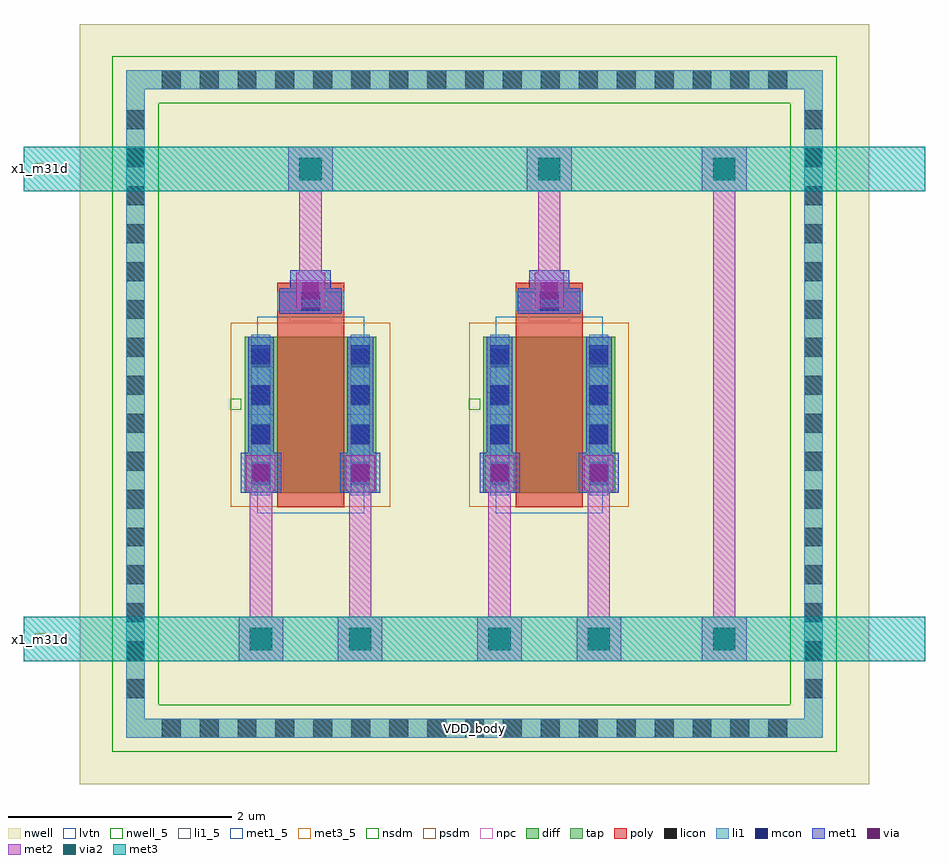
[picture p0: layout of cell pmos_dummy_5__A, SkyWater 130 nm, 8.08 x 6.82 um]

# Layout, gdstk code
import gdstk
lib = gdstk.Library(unit=1e-6, precision=1e-09)
def R(c, l, rs):  # rectangles x0, y0, x1, y1
    for r in rs: c.add(gdstk.rectangle(r[:2], r[2:], *l))
def A(c, l, x, y, w, h, nx, ny, dx, dy):  # array of equal rectangles
    R(c, l, [(x+i*dx, y+j*dy, x+i*dx+w, y+j*dy+h) for i in range(nx) for j in range(ny)])
nwell_5 = (64, 5)
nwell = (64, 20)
diff = (65, 20)
tap = (65, 44)
poly = (66, 20)
licon = (66, 44)
li1_5 = (67, 5)
li1 = (67, 20)
mcon = (67, 44)
met1_5 = (68, 5)
met1 = (68, 20)
via = (68, 44)
met2 = (69, 20)
via2 = (69, 44)
met3_5 = (70, 5)
met3 = (70, 20)
nsdm = (93, 44)
psdm = (94, 20)
npc = (95, 20)
lvtn = (125, 44)

sky130_fd_pr__pfet_01v8_ = lib.new_cell('sky130_fd_pr__pfet_01v8_lvt_L7GY3J')
R(sky130_fd_pr__pfet_01v8_, nwell, [(-0.77,-1.19,0.77,1.02)])
R(sky130_fd_pr__pfet_01v8_, diff, [(-0.59,-0.88,0.59,0.52)])
R(sky130_fd_pr__pfet_01v8_, poly, [(-0.3,-1.01,0.3,1.005)])
A(sky130_fd_pr__pfet_01v8_, licon, -0.53, -0.775, 0.17, 0.17, 1, 4, 0, 0.34)
A(sky130_fd_pr__pfet_01v8_, licon, 0.36, -0.775, 0.17, 0.17, 1, 4, 0, 0.34)
R(sky130_fd_pr__pfet_01v8_, licon, [(-0.085,0.755,0.085,0.925)])
R(sky130_fd_pr__pfet_01v8_, li1, [(-0.53,-0.9,-0.36,0.54), (0.36,-0.9,0.53,0.54), (-0.3,0.755,0.3,0.925)])
A(sky130_fd_pr__pfet_01v8_, mcon, -0.53, -0.805, 0.17, 0.17, 1, 4, 0, 0.36)
A(sky130_fd_pr__pfet_01v8_, mcon, 0.36, -0.805, 0.17, 0.17, 1, 4, 0, 0.36)
R(sky130_fd_pr__pfet_01v8_, mcon, [(-0.085,0.755,0.085,0.925)])
R(sky130_fd_pr__pfet_01v8_, met1, [(-0.56,-0.88,-0.33,0.52), (0.33,-0.88,0.56,0.52), (-0.28,0.725,0.28,0.955)])
R(sky130_fd_pr__pfet_01v8_, psdm, [(-0.715,-1.005,0.715,0.645)])
R(sky130_fd_pr__pfet_01v8_, npc, [(-0.185,0.655,0.185,1.025)])
R(sky130_fd_pr__pfet_01v8_, lvtn, [(-0.48,-1.06,0.48,0.7)])
sky130_fd_pr__pfet_01v8_.add(gdstk.Label('D', (-0.445,-0.18), layer=67, texttype=5))
sky130_fd_pr__pfet_01v8_.add(gdstk.Label('S', (0.445,-0.18), layer=67, texttype=5))
sky130_fd_pr__pfet_01v8_.add(gdstk.Label('G', (0,0.84), layer=67, texttype=5))

pfet_01v8_lvt_w1p4_l0p6_ = lib.new_cell('pfet_01v8_lvt_W1p4_L0p6_m2__nf1_gtop_sdfull_ng')
R(pfet_01v8_lvt_w1p4_l0p6_, nwell_5, [(0.05,1.055,0.15,1.155)])
R(pfet_01v8_lvt_w1p4_l0p6_, nwell, [(0.05,1.055,0.15,1.155)])
R(pfet_01v8_lvt_w1p4_l0p6_, met1_5, [(0.21,1.01,0.44,1.21), (1.1,1.01,1.33,1.21), (0.49,1.915,1.05,2.145)])
R(pfet_01v8_lvt_w1p4_l0p6_, met1, [(0.21,1.01,0.44,1.21), (1.1,1.01,1.33,1.21), (0.49,1.915,1.05,2.145)])
pfet_01v8_lvt_w1p4_l0p6_.add(gdstk.Reference(sky130_fd_pr__pfet_01v8_, (0.77,1.19)))
pfet_01v8_lvt_w1p4_l0p6_.add(gdstk.Label('D', (0.325,1.11), layer=68, texttype=5))
pfet_01v8_lvt_w1p4_l0p6_.add(gdstk.Label('S', (1.215,1.11), layer=68, texttype=5))
pfet_01v8_lvt_w1p4_l0p6_.add(gdstk.Label('G', (0.77,2.03), layer=68, texttype=5))
pfet_01v8_lvt_w1p4_l0p6_.add(gdstk.Label('B', (0.1,1.105), layer=64, texttype=5))

pmos_dummy_5__a = lib.new_cell('pmos_dummy_5__A')
R(pmos_dummy_5__a, nwell, [(-1.3,-2.3,5.78,4.515)])
R(pmos_dummy_5__a, tap, [(-0.885,-1.885,5.365,-1.715), (-0.885,-1.715,-0.715,3.93), (5.195,-1.715,5.365,3.93), (-0.885,3.93,5.365,4.1)])
A(pmos_dummy_5__a, licon, -0.565, -1.885, 0.17, 0.17, 17, 2, 0.34, 5.815)
A(pmos_dummy_5__a, licon, -0.885, -1.53, 0.17, 0.17, 1, 16, 0, 0.34)
A(pmos_dummy_5__a, licon, 5.195, -1.53, 0.17, 0.17, 1, 16, 0, 0.34)
R(pmos_dummy_5__a, li1_5, [(2.19,-1.85,2.29,-1.75)])
R(pmos_dummy_5__a, li1, [(-0.885,-1.885,5.365,-1.715), (-0.885,-1.715,-0.715,3.93), (5.195,-1.715,5.365,3.93), (-0.885,3.93,5.365,4.1)])
R(pmos_dummy_5__a, met1, [(0.145,0.31,0.505,0.67), (1.035,0.31,1.395,0.67), (2.285,0.31,2.645,0.67), (3.175,0.31,3.535,0.67), (0.59,1.945,0.95,2.305), (2.73,1.945,3.09,2.305)])
R(pmos_dummy_5__a, via, [(0.25,0.415,0.4,0.565), (1.14,0.415,1.29,0.565), (2.39,0.415,2.54,0.565), (3.28,0.415,3.43,0.565), (0.695,2.05,0.845,2.2), (2.835,2.05,2.985,2.2)])
R(pmos_dummy_5__a, met2, [(0.125,-1.2,0.525,-0.8), (1.015,-1.2,1.415,-0.8), (2.265,-1.2,2.665,-0.8), (3.155,-1.2,3.555,-0.8), (4.28,-1.2,4.68,-0.8), (0.225,-0.8,0.425,0.33), (1.115,-0.8,1.315,0.33), (2.365,-0.8,2.565,0.33), (3.255,-0.8,3.455,0.33), (4.38,-0.8,4.58,3.015), (0.195,0.33,0.455,0.65), (1.085,0.33,1.345,0.65), (2.335,0.33,2.595,0.65), (3.225,0.33,3.485,0.65), (0.64,1.965,0.9,2.285), (2.78,1.965,3.04,2.285), (0.67,2.285,0.87,3.015), (2.81,2.285,3.01,3.015), (0.57,3.015,0.97,3.415), (2.71,3.015,3.11,3.415), (4.28,3.015,4.68,3.415)])
R(pmos_dummy_5__a, via2, [(0.225,-1.1,0.425,-0.9), (1.115,-1.1,1.315,-0.9), (2.365,-1.1,2.565,-0.9), (3.255,-1.1,3.455,-0.9), (4.38,-1.1,4.58,-0.9), (0.67,3.115,0.87,3.315), (2.81,3.115,3.01,3.315), (4.38,3.115,4.58,3.315)])
R(pmos_dummy_5__a, met3_5, [(-1.7,-1.05,-1.6,-0.95), (-1.7,3.165,-1.6,3.265)])
R(pmos_dummy_5__a, met3, [(-1.8,-1.2,6.28,-0.8), (-1.8,3.015,6.28,3.415)])
R(pmos_dummy_5__a, nsdm, [(-1.01,-2.01,5.49,-1.59), (-1.01,-1.59,-0.59,3.805), (5.07,-1.59,5.49,3.805), (-1.01,3.805,5.49,4.225)])
pmos_dummy_5__a.add(gdstk.Reference(pfet_01v8_lvt_w1p4_l0p6_, (2.14,0)))
pmos_dummy_5__a.add(gdstk.Reference(pfet_01v8_lvt_w1p4_l0p6_, (0,0)))
pmos_dummy_5__a.add(gdstk.Label('x1_m31d', (-1.65,3.215), layer=70, texttype=5))
pmos_dummy_5__a.add(gdstk.Label('x1_m31d', (-1.65,-1), layer=70, texttype=5))
pmos_dummy_5__a.add(gdstk.Label('VDD_body', (2.24,-1.8), layer=67, texttype=5))

lib.write_gds('pmos_dummy_5__A.gds')
